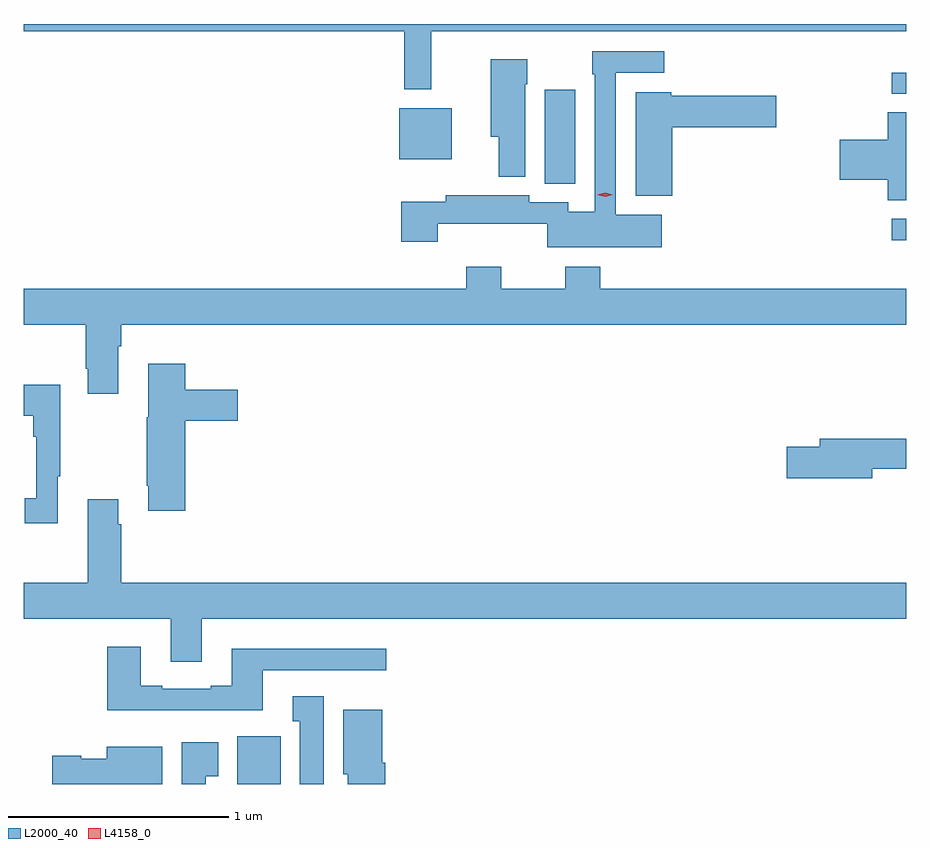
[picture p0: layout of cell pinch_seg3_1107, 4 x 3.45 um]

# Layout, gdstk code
import gdstk
lib = gdstk.Library(unit=1e-6, precision=1e-09)
def R(c, l, rs):  # rectangles x0, y0, x1, y1
    for r in rs: c.add(gdstk.rectangle(r[:2], r[2:], *l))
def P(c, l, *ps):  # polygons
    for p in ps: c.add(gdstk.Polygon(p, *l))
L2000_40 = (2000, 40)
L4158_0 = (4158, 0)

pinch_seg3_1107 = lib.new_cell('pinch_seg3_1107')
R(pinch_seg3_1107, L2000_40, [(265.631,745.455,265.828,745.672), (268.599,747.919,268.664,748.017), (267.026,748.177,267.163,748.603), (266.366,748.286,266.605,748.519), (268.599,748.584,268.664,748.68)])
P(pinch_seg3_1107, L2000_40, [(266.51,748.868),(268.664,748.868),(268.664,748.9),(264.664,748.9),(264.664,748.868),(266.389,748.868),(266.389,748.605),(266.51,748.605)],
  [(267.556,748.036),(267.348,748.036),(267.348,748.68),(267.568,748.68),(267.568,748.776),(267.24,748.776),(267.24,748.673),(267.252,748.673),(267.252,748.048),(267.132,748.048),(267.132,748.092),(266.956,748.092),(266.956,748.123),(266.576,748.123),(266.576,748.094),(266.375,748.094),(266.375,747.912),(266.54,747.912),(266.54,747.995),(267.036,747.995),(267.036,747.887),(267.556,747.887)],
  [(266.938,748.628),(266.946,748.628),(266.946,748.741),(266.78,748.741),(266.78,748.388),(266.816,748.388),(266.816,748.208),(266.938,748.208)],
  [(267.604,748.433),(268.075,748.433),(268.075,748.575),(267.6,748.575),(267.6,748.591),(267.437,748.591),(267.437,748.121),(267.604,748.121)],
  [(268.664,748.499),(268.58,748.499),(268.58,748.376),(268.362,748.376),(268.362,748.193),(268.58,748.193),(268.58,748.102),(268.664,748.102)],
  [(265.093,747.44),(265.106,747.44),(265.106,747.536),(268.664,747.536),(268.664,747.7),(267.278,747.7),(267.278,747.799),(267.118,747.799),(267.118,747.7),(266.829,747.7),(266.829,747.799),(266.669,747.799),(266.669,747.7),(264.664,747.7),(264.664,747.536),(264.946,747.536),(264.946,747.337),(264.953,747.337),(264.953,747.225),(265.093,747.225)],
  [(265.397,747.101),(265.633,747.101),(265.633,747.243),(265.397,747.243),(265.397,747.361),(265.229,747.361),(265.229,747.117),(265.222,747.117),(265.222,746.806),(265.229,746.806),(265.229,746.694),(265.397,746.694)],
  [(264.817,746.849),(264.829,746.849),(264.829,747.265),(264.664,747.265),(264.664,747.125),(264.708,747.125),(264.708,747.029),(264.72,747.029),(264.72,746.75),(264.669,746.75),(264.669,746.637),(264.817,746.637)],
  [(268.51,746.884),(268.664,746.884),(268.664,747.02),(268.271,747.02),(268.271,746.984),(268.122,746.984),(268.122,746.842),(268.51,746.842)],
  [(264.953,746.746),(264.953,746.368),(264.664,746.368),(264.664,746.204),(265.331,746.204),(265.331,746.01),(265.471,746.01),(265.471,746.204),(268.664,746.204),(268.664,746.368),(265.106,746.368),(265.106,746.633),(265.093,746.633),(265.093,746.746)],
  [(265.747,745.971),(266.308,745.971),(266.308,746.068),(265.607,746.068),(265.607,745.9),(265.511,745.9),(265.511,745.887),(265.291,745.887),(265.291,745.9),(265.195,745.9),(265.195,746.077),(265.043,746.077),(265.043,745.79),(265.747,745.79)],
  [(266.023,745.852),(265.883,745.852),(265.883,745.739),(265.916,745.739),(265.916,745.455),(266.023,745.455)],
  [(266.303,745.552),(266.29,745.552),(266.29,745.792),(266.111,745.792),(266.111,745.5),(266.132,745.5),(266.132,745.455),(266.303,745.455)],
  [(265.489,745.489),(265.546,745.489),(265.546,745.645),(265.379,745.645),(265.379,745.455),(265.489,745.455)],
  [(265.291,745.624),(265.04,745.624),(265.04,745.57),(264.924,745.57),(264.924,745.583),(264.792,745.583),(264.792,745.455),(265.291,745.455)])
P(pinch_seg3_1107, L4158_0, [(267.299,748.116),(267.264,748.126),(267.264,748.126),(267.264,748.126),(267.299,748.135),(267.334,748.125),(267.334,748.125),(267.334,748.125)])

lib.write_gds('pinch_seg3_1107.gds')
